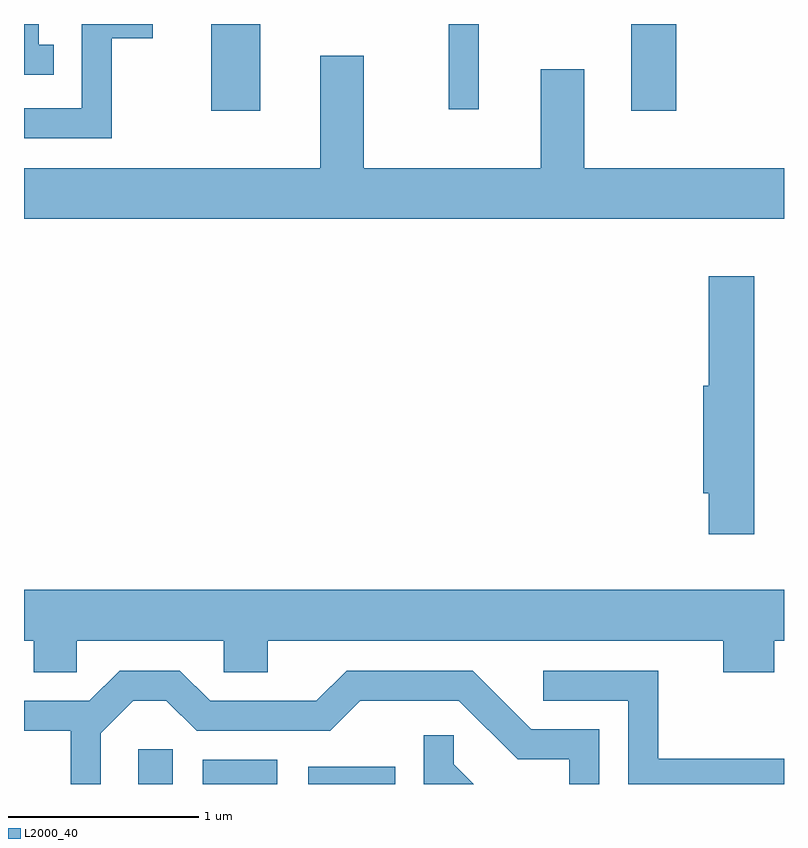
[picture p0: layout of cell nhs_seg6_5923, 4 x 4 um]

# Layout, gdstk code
import gdstk
lib = gdstk.Library(unit=1e-6, precision=1e-09)
def R(c, l, rs):  # rectangles x0, y0, x1, y1
    for r in rs: c.add(gdstk.rectangle(r[:2], r[2:], *l))
def P(c, l, *ps):  # polygons
    for p in ps: c.add(gdstk.Polygon(p, *l))
L2000_40 = (2000, 40)

nhs_seg6_5923 = lib.new_cell('nhs_seg6_5923')
R(nhs_seg6_5923, L2000_40, [(366.211,1558.162,366.394,1558.344), (366.551,1558.162,366.944,1558.289), (367.106,1558.162,367.564,1558.254), (366.596,1561.706,366.854,1562.162), (368.806,1561.706,369.044,1562.162), (367.846,1561.713,368.004,1562.162)])
P(nhs_seg6_5923, L2000_40, [(365.768,1562.054),(365.689,1562.054),(365.689,1562.162),(365.611,1562.162),(365.611,1561.896),(365.768,1561.896)],
  [(366.074,1562.086),(366.289,1562.086),(366.289,1562.162),(365.916,1562.162),(365.916,1561.719),(365.611,1561.719),(365.611,1561.561),(366.074,1561.561)],
  [(369.611,1561.404),(368.559,1561.404),(368.559,1561.924),(368.331,1561.924),(368.331,1561.404),(367.399,1561.404),(367.399,1561.994),(367.171,1561.994),(367.171,1561.404),(365.611,1561.404),(365.611,1561.136),(369.611,1561.136)],
  [(369.454,1560.834),(369.216,1560.834),(369.216,1560.259),(369.186,1560.259),(369.186,1559.691),(369.216,1559.691),(369.216,1559.476),(369.454,1559.476)],
  [(365.889,1558.916),(366.661,1558.916),(366.661,1558.751),(366.894,1558.751),(366.894,1558.916),(369.291,1558.916),(369.291,1558.751),(369.559,1558.751),(369.559,1558.916),(369.611,1558.916),(369.611,1559.184),(365.611,1559.184),(365.611,1558.916),(365.661,1558.916),(365.661,1558.751),(365.889,1558.751)],
  [(369.611,1558.294),(368.949,1558.294),(368.949,1558.759),(368.343,1558.759),(368.343,1558.601),(368.791,1558.601),(368.791,1558.162),(369.611,1558.162)],
  [(366.014,1558.429),(366.187,1558.601),(366.359,1558.601),(366.519,1558.441),(367.222,1558.441),(367.382,1558.601),(367.899,1558.601),(368.209,1558.291),(368.481,1558.291),(368.481,1558.162),(368.639,1558.162),(368.639,1558.449),(368.282,1558.449),(367.972,1558.759),(367.309,1558.759),(367.149,1558.599),(366.592,1558.599),(366.432,1558.759),(366.114,1558.759),(365.954,1558.599),(365.611,1558.599),(365.611,1558.441),(365.856,1558.441),(365.856,1558.162),(366.014,1558.162)],
  [(367.874,1558.267),(367.874,1558.418),(367.716,1558.418),(367.716,1558.162),(367.979,1558.162)])

lib.write_gds('nhs_seg6_5923.gds')
